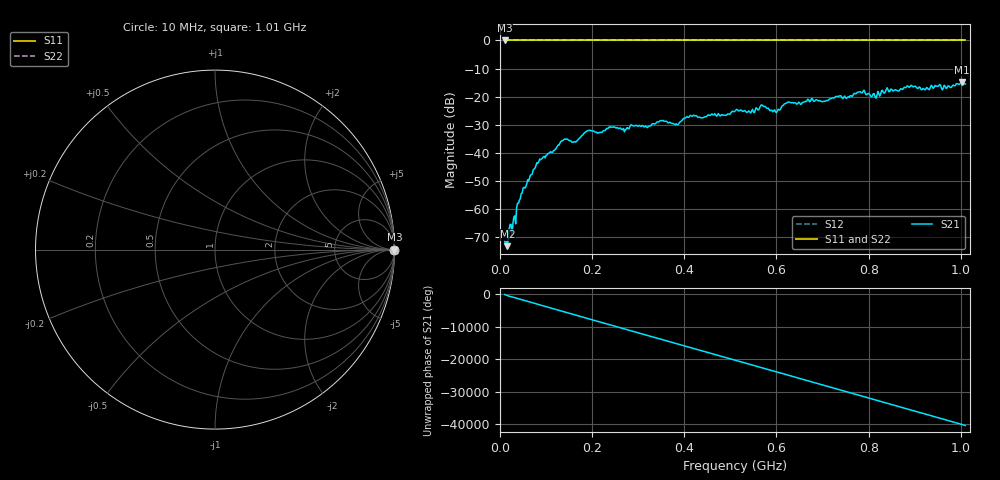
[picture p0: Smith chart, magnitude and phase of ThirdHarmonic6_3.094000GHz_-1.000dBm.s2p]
! 8/17/2025 9:06:36 AM
! C:\ANRITSUVNA\TEMP\TEMP.S2P
! CHANNEL.1
! TR.MEASUREMENT
! RAW.DATA
! RF.CORRECTION.OFF
! AVERAGING.OFF
! IF.BANDWIDTH: 5KHZ
! SWEEPTYPE:  FREQ.SWEEP(Linear)
! Reference Plane Port Info
! PORT:  PORT1  PORT2
! DISTANCE:  0  m  0  m
! TIME:  0  s  0  s
! PHASE.OFFSET:  0  deg.  0  deg.
! LOSS:  0  dB  0  dB
! REF.LOSS:  0  dB  0  dB
! REF.FREQ:  0  Hz  0  Hz
! Power Info
! POWER:  -20  dBm  -20  dBm
! EFF.POWER:  -20  dBm  -20  dBm
! SOURCE.ATTEN:  0  dB  0  dB
! TEST.ATTEN:  0  dB  0  dB
# GHZ S RI R 50.0
! FREQ.GHZ  S11RE  S11IM  S21RE  S21IM  S12RE  S12IM  S22RE  S22IM
!; PortSelection: Port_12
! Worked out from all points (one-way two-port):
!   501 points, 10 MHz to 1.01 GHz, reference 50 ohm
!   highest |S21| = -14.73 dB at 1.002 GHz (marker M1); lowest = -73.1 dB at 16 MHz (marker M2)
!   lowest |S11| = 0.0 dB at 10 MHz (marker M3)
!   |S11| at or under -10 dB: nowhere
!   |S22| runs from 0.0 to 0.0 dB; largest |S21 - S12| = 1.2
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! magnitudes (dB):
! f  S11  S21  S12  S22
! 10 MHz  0.0  -71.3  0.0  0.0
! 16 MHz  0.0  -73.1  0.0  0.0
! 30 MHz  0.0  -62.8  0.0  0.0
! 48 MHz  0.0  -54.3  0.0  0.0
! 82 MHz  0.0  -43.6  0.0  0.0
! 136 MHz  0.0  -35.6  0.0  0.0
! 162 MHz  0.0  -35.9  0.0  0.0
! 178 MHz  0.0  -33.7  0.0  0.0
! 344 MHz  0.0  -29.0  0.0  0.0
! 384 MHz  0.0  -29.7  0.0  0.0
! 416 MHz  0.0  -26.9  0.0  0.0
! 510 MHz  0.0  -25.1  0.0  0.0
! 548 MHz  0.0  -24.5  0.0  0.0
! 570 MHz  0.0  -23.1  0.0  0.0
! 596 MHz  0.0  -24.6  0.0  0.0
! 624 MHz  0.0  -22.0  0.0  0.0
! 678 MHz  0.0  -20.7  0.0  0.0
! 786 MHz  0.0  -18.6  0.0  0.0
! 814 MHz  0.0  -20.1  0.0  0.0
! 844 MHz  0.0  -18.2  0.0  0.0
! 1.002 GHz  0.0  -14.7  0.0  0.0
! 1.01 GHz  0.0  -15.4  0.0  0.0
